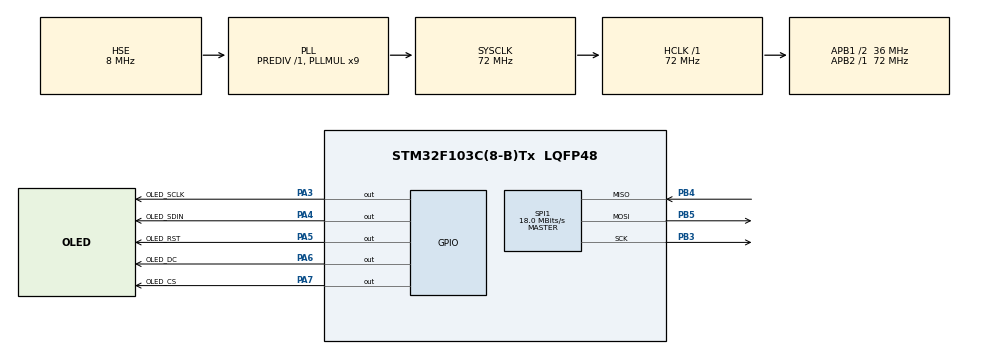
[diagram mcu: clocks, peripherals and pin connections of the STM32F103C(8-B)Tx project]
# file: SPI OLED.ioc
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Mcu.Family=STM32F1
Mcu.Name=STM32F103C(8-B)Tx
Mcu.Package=LQFP48
NVIC.PriorityGroup=NVIC_PRIORITYGROUP_4
PA3.GPIO_Label=OLED_SCLK
PA3.Signal=GPIO_Output
PA4.GPIO_Label=OLED_SDIN
PA4.Signal=GPIO_Output
PA5.GPIO_Label=OLED_RST
PA5.Signal=GPIO_Output
PA6.GPIO_Label=OLED_DC
PA6.Signal=GPIO_Output
PA7.GPIO_Label=OLED_CS
PA7.Signal=GPIO_Output
PB3.Mode=Full_Duplex_Master
PB3.Signal=SPI1_SCK
PB4.Mode=Full_Duplex_Master
PB4.Signal=SPI1_MISO
PB5.Mode=Full_Duplex_Master
PB5.Signal=SPI1_MOSI
PD0-OSC_IN.Mode=HSE-External-Oscillator
PD0-OSC_IN.Signal=RCC_OSC_IN
PD1-OSC_OUT.Mode=HSE-External-Oscillator
PD1-OSC_OUT.Signal=RCC_OSC_OUT
ProjectManager.HeapSize=0x200
ProjectManager.StackSize=0x400
ProjectManager.TargetToolchain=MDK-ARM V5.27
RCC.AHBFreq_Value=72000000
RCC.APB1CLKDivider=RCC_HCLK_DIV2
RCC.APB1Freq_Value=36000000
RCC.APB1TimFreq_Value=72000000
RCC.APB2Freq_Value=72000000
RCC.APB2TimFreq_Value=72000000
RCC.HCLKFreq_Value=72000000
RCC.PLLMUL=RCC_PLL_MUL9
RCC.PLLSourceVirtual=RCC_PLLSOURCE_HSE
RCC.SYSCLKFreq_VALUE=72000000
RCC.SYSCLKSource=RCC_SYSCLKSOURCE_PLLCLK
RCC.USBFreq_Value=72000000
SPI1.BaudRatePrescaler=SPI_BAUDRATEPRESCALER_4
SPI1.CalculateBaudRate=18.0 MBits/s
SPI1.Direction=SPI_DIRECTION_2LINES
SPI1.Mode=SPI_MODE_MASTER
SPI1.VirtualType=VM_MASTER
VP_SYS_VS_ND.Mode=No_Debug
board=custom

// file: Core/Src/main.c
/* USER CODE BEGIN Header */
/**
  ******************************************************************************
  * @file           : main.c
  * @brief          : Main program body
  ******************************************************************************
  * @attention
  *
  * <h2><center>&copy; Copyright (c) 2021 STMicroelectronics.
  * All rights reserved.</center></h2>
  *
  * This software component is licensed by ST under BSD 3-Clause license,
  * the "License"; You may not use this file except in compliance with the
  * License. You may obtain a copy of the License at:
  *                        opensource.org/licenses/BSD-3-Clause
  *
  ******************************************************************************
  */
/* USER CODE END Header */
#include "main.h"
#include "spi.h"
#include "gpio.h"

/* USER CODE BEGIN PM */
//OLED的显存
//存放格式如下
//[0]0 1 2 3 ... 127
//[1]0 1 2 3 ... 127
//[2]0 1 2 3 ... 127
//[3]0 1 2 3 ... 127
//[4]0 1 2 3 ... 127
//[5]0 1 2 3 ... 127
//[6]0 1 2 3 ... 127
//[7]0 1 2 3 ... 127
//向SSD1306写入一个字节
//dat:要写入的数据/命令
//cmd:数据/命令标志 0，表示命令；1，表示数据
void OLED_WR_Byte(uint8_t dat,uint8_t cmd)
{
	if(cmd)
	{
		OLED_DC_Set();//命令/数据标志位置为1，则表示传送的是命令字节
	}

	else
	OLED_DC_Clr();//命令/数据标志位置为0，则表示传送的是数据字节
	  OLED_CS_Clr();//片选信号为低，表示选中OLED
	  HAL_SPI_Transmit(&hspi1,&dat,1,1000);//oled.c文件唯一修改的地方，这里是利用了hal库提供的SPI传送函数
	  OLED_CS_Set();
	  OLED_DC_Set();
}

	void OLED_Set_Pos(unsigned char x, unsigned char y)
{
	OLED_WR_Byte(0xb0+y,OLED_CMD);
	OLED_WR_Byte((((x+2)&0xf0)>>4)|0x10,OLED_CMD);
	OLED_WR_Byte(((x+2)&0x0f),OLED_CMD);
}
//开启OLED显示
void OLED_Display_On(void)
{
	OLED_WR_Byte(0X8D,OLED_CMD);  //设置电荷泵命令字
	OLED_WR_Byte(0X14,OLED_CMD);  //开启电荷泵
	OLED_WR_Byte(0XAF,OLED_CMD);  //DISPLAY ON
}
//关闭OLED显示
void OLED_Display_Off(void)
{
	OLED_WR_Byte(0X8D,OLED_CMD);  //设置电荷泵命令字
	OLED_WR_Byte(0X10,OLED_CMD);  //关闭电荷泵
	OLED_WR_Byte(0XAE,OLED_CMD);  //DISPLAY OFF
}
//清屏函数，清完后整个屏幕都是黑色的，没有一点光亮
void OLED_Clear(void)
{
	uint8_t i,n;
	for(i=0;i<8;i++)
	{
		OLED_WR_Byte (0xb0+i,OLED_CMD);    //设置页地址
		OLED_WR_Byte (0x02,OLED_CMD);      //设置起始列低地址
		OLED_WR_Byte (0x10,OLED_CMD);      //设置起始列高地址
		for(n=0;n<128;n++)OLED_WR_Byte(0,OLED_DATA);
	} //更新显示
}

//在指定位置显示一个字符，包括部分字符
//x:0~127
//y:0~6
//mode:0,反白显示；1，正常显示
//size:选择字体大小 16/12
void OLED_ShowChar(uint8_t x,uint8_t y,uint8_t chr)
{
	unsigned char c=0,i=0;
		c=chr-' ';//得到偏移后的值
		if(x>Max_Column-1){x=0;y=y+2;}
		if(SIZE ==16)
			{
			OLED_Set_Pos(x,y);
			for(i=0;i<8;i++)
			OLED_WR_Byte(F8X16[c*16+i],OLED_DATA);
			OLED_Set_Pos(x,y+1);
			for(i=0;i<8;i++)
			OLED_WR_Byte(F8X16[c*16+i+8],OLED_DATA);
			}
			else {
				OLED_Set_Pos(x,y+1);
				for(i=0;i<6;i++)
				OLED_WR_Byte(F6x8[c][i],OLED_DATA);

			}
}
//m^n函数
uint32_t oled_pow(uint8_t m,uint8_t n)
{
	uint32_t result=1;
	while(n--)result*=m;
	return result;
}
//显示两个数字
//x,y :起点坐标
//len :数字的位数
//size:字体大小
//mode:0:填充模式；1:叠加模式
//num:数值(0~4294967295);
void OLED_ShowNum(uint8_t x,uint8_t y,uint32_t num,uint8_t len,uint8_t size)
{
	uint8_t t,temp;
	uint8_t enshow=0;
	for(t=0;t<len;t++)
	{
		temp=(num/oled_pow(10,len-t-1))%10;
		if(enshow==0&&t<(len-1))
		{
			if(temp==0)
			{
				OLED_ShowChar(x+(size/2)*t,y,' ');
				continue;
			}else enshow=1;

		}
	 	OLED_ShowChar(x+(size/2)*t,y,temp+'0');
	}
}
//显示一个字符串
void OLED_ShowString(uint8_t x,uint8_t y,uint8_t *chr)
{
	unsigned char j=0;
	while (chr[j]!='\0')
	{		OLED_ShowChar(x,y,chr[j]);
			x+=8;
		if(x>120){x=0;y+=2;}
			j++;
	}
}
//显示汉字
void OLED_ShowCHinese(uint8_t x,uint8_t y,uint8_t no)
{
	uint8_t t,adder=0;
	OLED_Set_Pos(x,y);
    for(t=0;t<16;t++)
		{
				OLED_WR_Byte(Hzk[2*no][t],OLED_DATA);
				adder+=1;
     }
		OLED_Set_Pos(x,y+1);
    for(t=0;t<16;t++)
			{
				OLED_WR_Byte(Hzk[2*no+1][t],OLED_DATA);
				adder+=1;
      }
}
/*显示BMP图片。x的范围为0~127，y的页得的范围0~7*/
void OLED_DrawBMP(unsigned char x0, unsigned char y0,unsigned char x1, unsigned char y1,unsigned char BMP[])
{
 unsigned int j=0;
 unsigned char x,y;

  if(y1%8==0) y=y1/8;
  else y=y1/8+1;
	for(y=y0;y<y1;y++)
	{
		OLED_Set_Pos(x0,y);
    for(x=x0;x<x1;x++)
	    {
	    	OLED_WR_Byte(BMP[j++],OLED_DATA);
	    }
	}
}

//初始化SSD1306
void OLED_Init(void)
{

	OLED_RST_Clr();
	HAL_Delay(200);
	OLED_RST_Set();

	OLED_WR_Byte(0xAE,OLED_CMD);//--turn off oled panel
	OLED_WR_Byte(0x02,OLED_CMD);//---set low column address
	OLED_WR_Byte(0x10,OLED_CMD);//---set high column address
	OLED_WR_Byte(0x40,OLED_CMD);//--set start line address  Set Mapping RAM Display Start Line (0x00~0x3F)
	OLED_WR_Byte(0x81,OLED_CMD);//--set contrast control register
	OLED_WR_Byte(0xCF,OLED_CMD); // Set SEG Output Current Brightness
	OLED_WR_Byte(0xA1,OLED_CMD);//--Set SEG/Column Mapping     0Xa0左右反置 0Xa1正常
	OLED_WR_Byte(0xC8,OLED_CMD);//Set COM/Row Scan Direction   0Xc0上下反置 0Xc8正常
	OLED_WR_Byte(0xA6,OLED_CMD);//--set normal display
	OLED_WR_Byte(0xA8,OLED_CMD);//--set multiplex ratio(1 to 64)
	OLED_WR_Byte(0x3f,OLED_CMD);//--1/64 duty
	OLED_WR_Byte(0xD3,OLED_CMD);//-set display offset	Shift Mapping RAM Counter (0x00~0x3F)
	OLED_WR_Byte(0x00,OLED_CMD);//-not offset
	OLED_WR_Byte(0xd5,OLED_CMD);//--set display clock divide ratio/oscillator frequency
	OLED_WR_Byte(0x80,OLED_CMD);//--set divide ratio, Set Clock as 100 Frames/Sec
	OLED_WR_Byte(0xD9,OLED_CMD);//--set pre-charge period
	OLED_WR_Byte(0xF1,OLED_CMD);//Set Pre-Charge as 15 Clocks & Discharge as 1 Clock
	OLED_WR_Byte(0xDA,OLED_CMD);//--set com pins hardware configuration
	OLED_WR_Byte(0x12,OLED_CMD);
	OLED_WR_Byte(0xDB,OLED_CMD);//--set vcomh
	OLED_WR_Byte(0x40,OLED_CMD);//Set VCOM Deselect Level
	OLED_WR_Byte(0x20,OLED_CMD);//-Set Page Addressing Mode (0x00/0x01/0x02)
	OLED_WR_Byte(0x02,OLED_CMD);//
	OLED_WR_Byte(0x8D,OLED_CMD);//--set Charge Pump enable/disable
	OLED_WR_Byte(0x14,OLED_CMD);//--set(0x10) disable
	OLED_WR_Byte(0xA4,OLED_CMD);// Disable Entire Display On (0xa4/0xa5)
	OLED_WR_Byte(0xA6,OLED_CMD);// Disable Inverse Display On (0xa6/a7)
	OLED_WR_Byte(0xAF,OLED_CMD);//--turn on oled panel

	OLED_WR_Byte(0xAF,OLED_CMD); /*display ON*/
	OLED_Clear();
}
/* USER CODE END PM */

void SystemClock_Config(void);

int main(void)
{

  /* MCU Configuration--------------------------------------------------------*/

  /* Reset of all peripherals, Initializes the Flash interface and the Systick. */
  HAL_Init();

  /* Configure the system clock */
  SystemClock_Config();

  /* Initialize all configured peripherals */
  MX_GPIO_Init();
  MX_SPI1_Init();
  /* USER CODE BEGIN 2 */
    OLED_Init();//OLED初始化
	OLED_Clear(); //OLED清屏
  /* USER CODE END 2 */

  /* Infinite loop */
  while (1)
  {

    /* USER CODE BEGIN 3 */
		OLED_ShowCHinese(0,0,0);
		OLED_ShowCHinese(18,0,1);
		OLED_ShowCHinese(36,0,2);
		OLED_ShowCHinese(54,0,3);
		OLED_ShowCHinese(72,0,4);
		OLED_ShowCHinese(0,3,5);
		OLED_ShowCHinese(18,3,6);
		OLED_ShowCHinese(36,3,7);
		OLED_ShowCHinese(54,3,8);
		OLED_ShowCHinese(72,3,9);
		OLED_ShowCHinese(0,6,10);
		OLED_ShowCHinese(18,6,11);
		OLED_ShowCHinese(36,6,12);
		OLED_ShowCHinese(54,6,13);
		OLED_ShowCHinese(72,6,14);
  }
  /* USER CODE END 3 */
}

void SystemClock_Config(void)
{
  RCC_OscInitTypeDef RCC_OscInitStruct = {0};
  RCC_ClkInitTypeDef RCC_ClkInitStruct = {0};

  /** Initializes the RCC Oscillators according to the specified parameters
  * in the RCC_OscInitTypeDef structure.
  */
  RCC_OscInitStruct.OscillatorType = RCC_OSCILLATORTYPE_HSE;
  RCC_OscInitStruct.HSEState = RCC_HSE_ON;
  RCC_OscInitStruct.HSEPredivValue = RCC_HSE_PREDIV_DIV1;
  RCC_OscInitStruct.HSIState = RCC_HSI_ON;
  RCC_OscInitStruct.PLL.PLLState = RCC_PLL_ON;
  RCC_OscInitStruct.PLL.PLLSource = RCC_PLLSOURCE_HSE;
  RCC_OscInitStruct.PLL.PLLMUL = RCC_PLL_MUL9;
  if (HAL_RCC_OscConfig(&RCC_OscInitStruct) != HAL_OK)
  {
    Error_Handler();
  }
  /** Initializes the CPU, AHB and APB buses clocks
  */
  RCC_ClkInitStruct.ClockType = RCC_CLOCKTYPE_HCLK|RCC_CLOCKTYPE_SYSCLK
                              |RCC_CLOCKTYPE_PCLK1|RCC_CLOCKTYPE_PCLK2;
  RCC_ClkInitStruct.SYSCLKSource = RCC_SYSCLKSOURCE_PLLCLK;
  RCC_ClkInitStruct.AHBCLKDivider = RCC_SYSCLK_DIV1;
  RCC_ClkInitStruct.APB1CLKDivider = RCC_HCLK_DIV2;
  RCC_ClkInitStruct.APB2CLKDivider = RCC_HCLK_DIV1;

  if (HAL_RCC_ClockConfig(&RCC_ClkInitStruct, FLASH_LATENCY_2) != HAL_OK)
  {
    Error_Handler();
  }
}

void Error_Handler(void)
{
}

/************************ (C) COPYRIGHT STMicroelectronics *****END OF FILE****/
